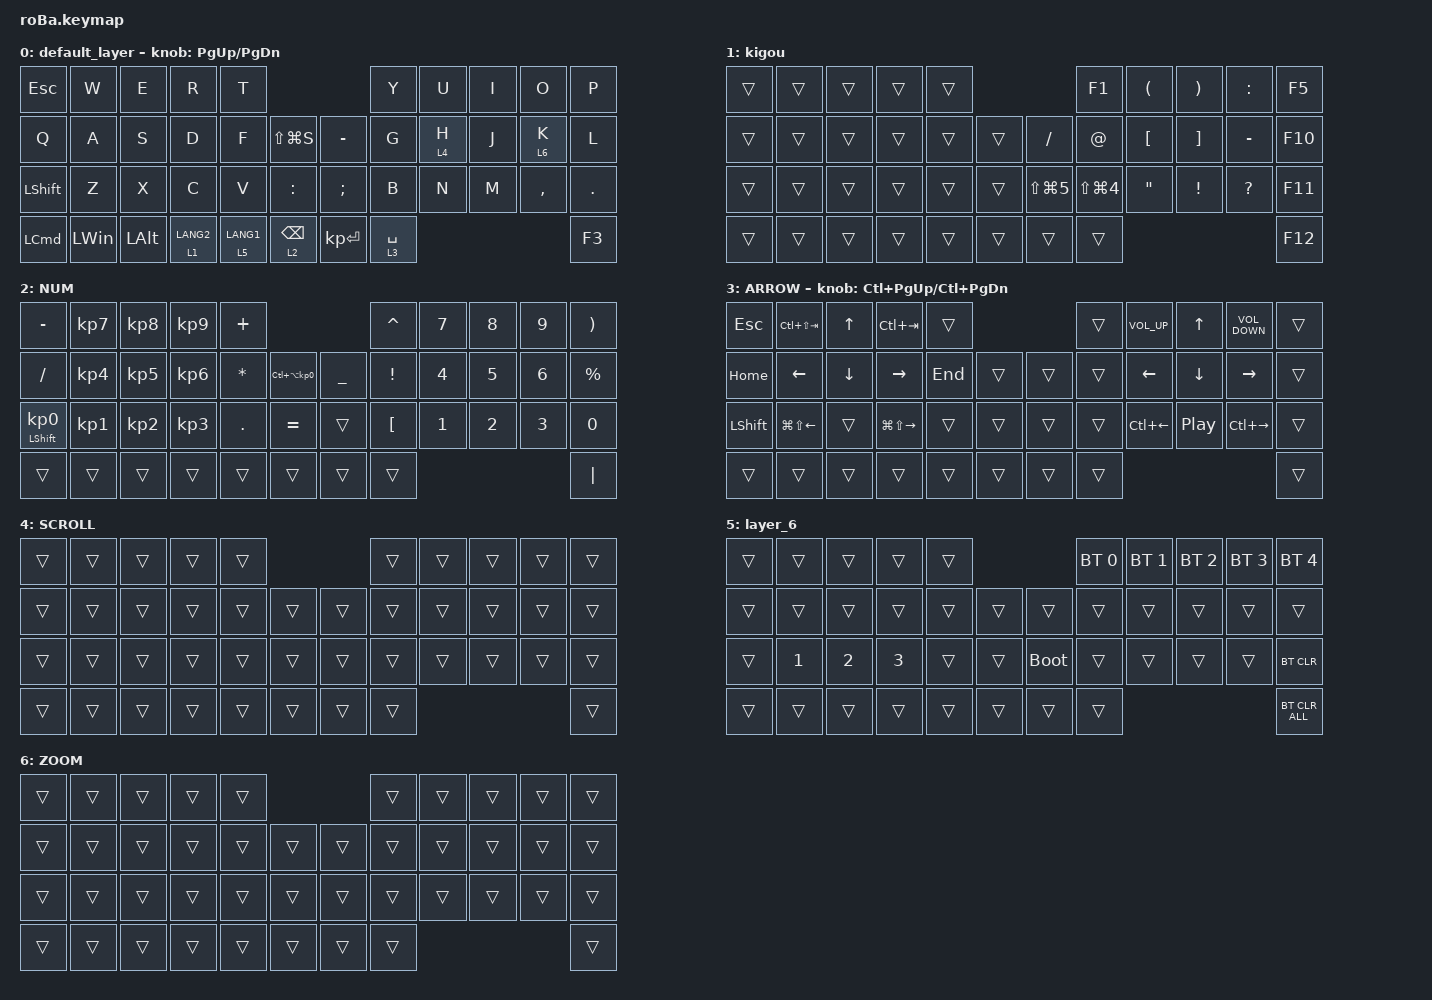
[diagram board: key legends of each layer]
#include <behaviors.dtsi>
#include <dt-bindings/zmk/bt.h>
#include <dt-bindings/zmk/keys.h>
#include <dt-bindings/zmk/pointing.h>
#include <zephyr/dt-bindings/input/input-event-codes.h>

&mt {
    flavor = "balanced";
    quick-tap-ms = <0>;
};

&trackball {
    scroll-layers = <4>;

    // arrows {
    //     layers = <3>;
    //     bindings =
    //         <&kp RIGHT_ARROW>,
    //         <&kp LEFT_ARROW>,
    //         <&kp UP_ARROW>,
    //         <&kp DOWN_ARROW>;
    //     tick = <10>;
    //     wait-ms = <5>;
    //     tap-ms = <5>;
    // };

    zoom {
        layers = <6>;
        bindings = <&none>, <&none>, <&kp LG(EQUAL)>, <&kp LG(MINUS)>;
        tick = <50>;
        wait-ms = <5>;
        tap-ms = <5>;
    };
};

/ {
    combos {
        compatible = "zmk,combos";

        tab {
            bindings = <&kp TAB>;
            key-positions = <11 12>;
        };

        shift_tab {
            bindings = <&kp LS(TAB)>;
            key-positions = <12 13>;
        };

        muhennkann {
            bindings = <&to_layer_0 INT_MUHENKAN>;
            key-positions = <11 10>;
        };

        double_quotation {
            bindings = <&kp DOUBLE_QUOTES>;
            key-positions = <20 21>;
        };

        eq {
            bindings = <&kp EQUAL>;
            key-positions = <24 25>;
        };

        mouse_left_click {
            bindings = <&mkp MB1>;
            key-positions = <18 19>;
        };

        mouse_right_click {
            bindings = <&mkp MB2>;
            key-positions = <19 20>;
        };

        combo_8 {
            bindings = <&kp C_AC_DESKTOP_SHOW_ALL_WINDOWS>;
            key-positions = <30 31>;
        };

        combo_9 {
            bindings = <&kp C_AC_DESKTOP_SHOW_ALL_APPLICATIONS>;
            key-positions = <31 32>;
        };
    };

    macros {
        to_layer_0: to_layer_0 {
            compatible = "zmk,behavior-macro-one-param";
            #binding-cells = <1>;
            bindings = <&to 0 &macro_param_1to1 &kp MACRO_PLACEHOLDER>;
            label = "TO_LAYER_0";
        };
    };

    behaviors {
        lt_to_layer_0: lt_to_layer_0 {
            compatible = "zmk,behavior-hold-tap";
            label = "LAYER_TAP_TO_0";
            bindings = <&mo>, <&to_layer_0>;

            #binding-cells = <2>;
            tapping-term-ms = <200>;
        };

        // ⌫ 用: タップで ⌫、長押しでレイヤー。
        // タップした直後（200ms 以内）にもう一度押して長押しすると、レイヤーではなく ⌫ の連打になる。
        // マクロ経由だと ZMK が「直前にタップしたキー」を覚えておけないため、⌫ を直接送る。
        lt_bspc: lt_bspc {
            compatible = "zmk,behavior-hold-tap";
            bindings = <&mo>, <&kp>;

            #binding-cells = <2>;
            tapping-term-ms = <200>;
            quick-tap-ms = <200>;
        };
    };

    keymap {
        compatible = "zmk,keymap";

        default_layer {
            bindings = <
&kp ESCAPE        &kp W         &kp E         &kp R                   &kp T                                                 &kp Y        &kp U    &kp I  &kp O      &kp P
&kp Q             &kp A         &kp S         &kp D                   &kp F        &kp LS(LG(S))             &kp MINUS      &kp G        &lt 4 H  &kp J  &lt 6 K    &kp L
&kp LEFT_SHIFT    &kp Z         &kp X         &kp C                   &kp V        &kp COLON                 &kp SEMICOLON  &kp B        &kp N    &kp M  &kp COMMA  &kp PERIOD
&kp LEFT_COMMAND  &kp LEFT_WIN  &kp LEFT_ALT  &lt_to_layer_0 1 LANG2  &lt 5 LANG1  &lt_bspc 2 BACKSPACE      &kp KP_ENTER   &lt 3 SPACE                             &kp F3
            >;

            sensor-bindings = <&inc_dec_kp PG_UP PAGE_DOWN>;
        };

        kigou {
            bindings = <
&trans  &trans  &trans  &trans  &trans                                    &kp F1                &kp LEFT_PARENTHESIS  &kp RIGHT_PARENTHESIS  &kp COLON     &kp F5
&trans  &trans  &trans  &trans  &trans  &trans      &kp SLASH             &kp AT_SIGN           &kp LEFT_BRACKET      &kp RIGHT_BRACKET      &kp MINUS     &kp F10
&trans  &trans  &trans  &trans  &trans  &trans      &kp LS(LG(NUMBER_5))  &kp LS(LG(NUMBER_4))  &kp DOUBLE_QUOTES     &kp EXCLAMATION        &kp QUESTION  &kp F11
&trans  &trans  &trans  &trans  &trans  &trans      &trans                &trans                                                                           &kp F12
            >;
        };

        NUM {
            bindings = <
&kp MINUS                   &kp KP_NUMBER_7  &kp KP_NUMBER_8  &kp KP_NUMBER_9  &kp PLUS                                                   &kp CARET         &kp NUMBER_7  &kp NUMBER_8  &kp NUMBER_9  &kp RIGHT_PARENTHESIS
&kp SLASH                   &kp KP_NUMBER_4  &kp KP_NUMBER_5  &kp KP_NUMBER_6  &kp ASTERISK  &kp LC(LA(KP_NUMBER_0))      &kp UNDERSCORE  &kp EXCLAMATION   &kp NUMBER_4  &kp NUMBER_5  &kp NUMBER_6  &kp PERCENT
&mt LEFT_SHIFT KP_NUMBER_0  &kp KP_NUMBER_1  &kp KP_NUMBER_2  &kp KP_NUMBER_3  &kp PERIOD    &kp EQUAL                    &trans          &kp LEFT_BRACKET  &kp NUMBER_1  &kp NUMBER_2  &kp NUMBER_3  &kp NUMBER_0
&trans                      &trans           &trans           &trans           &trans        &trans                       &trans          &trans                                                      &kp PIPE
            >;
        };

        ARROW {
            bindings = <
&kp ESCAPE      &kp LC(LS(TAB))         &kp UP_ARROW    &kp LC(TAB)              &trans                       &trans  &kp C_VOLUME_UP     &kp UP_ARROW      &kp C_VOLUME_DOWN    &trans
&kp HOME        &kp LEFT_ARROW          &kp DOWN_ARROW  &kp RIGHT_ARROW          &kp END  &trans      &trans  &trans  &kp LEFT_ARROW      &kp DOWN_ARROW    &kp RIGHT_ARROW      &trans
&kp LEFT_SHIFT  &kp LG(LS(LEFT_ARROW))  &trans          &kp LG(LS(RIGHT_ARROW))  &trans   &trans      &trans  &trans  &kp LC(LEFT_ARROW)  &kp C_PLAY_PAUSE  &kp LC(RIGHT_ARROW)  &trans
&trans          &trans                  &trans          &trans                   &trans   &trans      &trans  &trans                                                             &trans
            >;

            sensor-bindings = <&inc_dec_kp LC(PAGE_UP) LC(PAGE_DOWN)>;
        };

        SCROLL {
            bindings = <
&trans  &trans  &trans  &trans  &trans                      &trans  &trans  &trans  &trans  &trans
&trans  &trans  &trans  &trans  &trans  &trans      &trans  &trans  &trans  &trans  &trans  &trans
&trans  &trans  &trans  &trans  &trans  &trans      &trans  &trans  &trans  &trans  &trans  &trans
&trans  &trans  &trans  &trans  &trans  &trans      &trans  &trans                          &trans
            >;
        };

        layer_6 {
            bindings = <
&trans  &trans        &trans        &trans        &trans                           &bt BT_SEL 0  &bt BT_SEL 1  &bt BT_SEL 2  &bt BT_SEL 3  &bt BT_SEL 4
&trans  &trans        &trans        &trans        &trans  &trans      &trans       &trans        &trans        &trans        &trans        &trans
&trans  &kp NUMBER_1  &kp NUMBER_2  &kp NUMBER_3  &trans  &trans      &bootloader  &trans        &trans        &trans        &trans        &bt BT_CLR
&trans  &trans        &trans        &trans        &trans  &trans      &trans       &trans                                                  &bt BT_CLR_ALL
            >;
        };

        ZOOM {
            bindings = <
&trans  &trans  &trans  &trans  &trans                      &trans  &trans  &trans  &trans  &trans
&trans  &trans  &trans  &trans  &trans  &trans      &trans  &trans  &trans  &trans  &trans  &trans
&trans  &trans  &trans  &trans  &trans  &trans      &trans  &trans  &trans  &trans  &trans  &trans
&trans  &trans  &trans  &trans  &trans  &trans      &trans  &trans                          &trans
            >;
        };
    };
};

/ {
    // 横スクロールを間引く（Keymap Atelier の「横スクロールの感度」）
    hscroll_damper: hscroll_damper {
        compatible = "zmk,input-processor-scaler";
        #input-processor-cells = <2>;
        type = <INPUT_EV_REL>;
        codes = <INPUT_REL_HWHEEL>;
        track-remainders;
    };
};

&trackball_listener {
    input-processors = <&hscroll_damper 1 3>;
};
